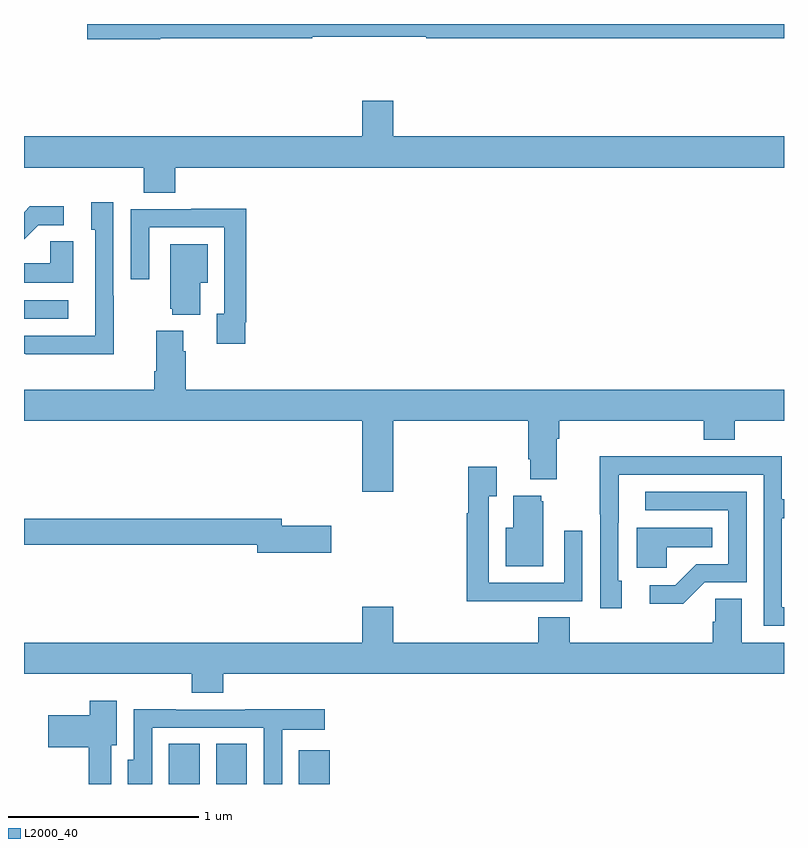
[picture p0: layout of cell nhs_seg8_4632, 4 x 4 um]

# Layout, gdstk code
import gdstk
lib = gdstk.Library(unit=1e-6, precision=1e-09)
def R(c, l, rs):  # rectangles x0, y0, x1, y1
    for r in rs: c.add(gdstk.rectangle(r[:2], r[2:], *l))
def P(c, l, *ps):  # polygons
    for p in ps: c.add(gdstk.Polygon(p, *l))
L2000_40 = (2000, 40)

nhs_seg8_4632 = lib.new_cell('nhs_seg8_4632')
R(nhs_seg8_4632, L2000_40, [(391.763,1135.9,391.924,1136.111), (392.012,1135.9,392.173,1136.111), (392.447,1135.9,392.608,1136.077), (391,1138.35,391.234,1138.446)])
P(nhs_seg8_4632, L2000_40, [(391.716,1139.824),(392.516,1139.824),(392.516,1139.832),(393.116,1139.832),(393.116,1139.824),(395,1139.824),(395,1139.9),(391.332,1139.9),(391.332,1139.819),(391.716,1139.819)],
  [(391.796,1139.144),(395,1139.144),(395,1139.308),(392.944,1139.308),(392.944,1139.497),(392.78,1139.497),(392.78,1139.308),(391,1139.308),(391,1139.144),(391.631,1139.144),(391.631,1139.011),(391.796,1139.011)],
  [(391.473,1138.469),(391.47,1138.469),(391.47,1138.963),(391.355,1138.963),(391.355,1138.818),(391.374,1138.818),(391.374,1138.26),(391,1138.26),(391,1138.164),(391.009,1138.164),(391.009,1138.163),(391.473,1138.163)],
  [(391.075,1138.842),(391.21,1138.842),(391.21,1138.94),(391.031,1138.94),(391,1138.909),(391,1138.767)],
  [(392.164,1138.33),(392.171,1138.33),(392.171,1138.928),(391.879,1138.928),(391.879,1138.926),(391.563,1138.926),(391.563,1138.557),(391.659,1138.557),(391.659,1138.83),(392.055,1138.83),(392.055,1138.374),(392.015,1138.374),(392.015,1138.218),(392.164,1138.218)],
  [(391.258,1138.757),(391.137,1138.757),(391.137,1138.642),(391,1138.642),(391,1138.538),(391.258,1138.538)],
  [(391.927,1138.538),(391.966,1138.538),(391.966,1138.741),(391.769,1138.741),(391.769,1138.401),(391.781,1138.401),(391.781,1138.37),(391.927,1138.37)],
  [(392.944,1137.812),(393.653,1137.812),(393.653,1137.61),(393.665,1137.61),(393.665,1137.503),(393.805,1137.503),(393.805,1137.716),(393.818,1137.716),(393.818,1137.812),(394.577,1137.812),(394.577,1137.713),(394.742,1137.713),(394.742,1137.812),(395,1137.812),(395,1137.976),(391.85,1137.976),(391.85,1138.178),(391.837,1138.178),(391.837,1138.285),(391.697,1138.285),(391.697,1138.072),(391.685,1138.072),(391.685,1137.976),(391,1137.976),(391,1137.812),(392.78,1137.812),(392.78,1137.438),(392.944,1137.438)],
  [(395,1136.829),(394.989,1136.829),(394.989,1137.298),(395,1137.298),(395,1137.399),(394.989,1137.399),(394.989,1137.624),(394.493,1137.624),(394.493,1137.626),(394.03,1137.626),(394.03,1137.319),(394.032,1137.319),(394.032,1136.826),(394.147,1136.826),(394.147,1136.97),(394.128,1136.97),(394.128,1137.274),(394.129,1137.274),(394.129,1137.528),(394.893,1137.528),(394.893,1136.733),(395,1136.733)],
  [(393.623,1136.862),(393.939,1136.862),(393.939,1137.232),(393.843,1137.232),(393.843,1136.958),(393.447,1136.958),(393.447,1137.415),(393.487,1137.415),(393.487,1137.571),(393.339,1137.571),(393.339,1137.326),(393.331,1137.326),(393.331,1136.861),(393.623,1136.861)],
  [(394.584,1136.961),(394.803,1136.961),(394.803,1137.438),(394.269,1137.438),(394.269,1137.342),(394.707,1137.342),(394.707,1137.057),(394.538,1137.057),(394.427,1136.946),(394.293,1136.946),(394.293,1136.849),(394.471,1136.849)],
  [(393.733,1137.387),(393.722,1137.387),(393.722,1137.418),(393.575,1137.418),(393.575,1137.25),(393.536,1137.25),(393.536,1137.047),(393.733,1137.047)],
  [(392.617,1137.26),(392.356,1137.26),(392.356,1137.296),(391,1137.296),(391,1137.16),(392.228,1137.16),(392.228,1137.118),(392.617,1137.118)],
  [(394.383,1137.146),(394.622,1137.146),(394.622,1137.25),(394.226,1137.25),(394.226,1137.038),(394.383,1137.038)],
  [(392.048,1136.48),(395,1136.48),(395,1136.644),(394.777,1136.644),(394.777,1136.876),(394.638,1136.876),(394.638,1136.753),(394.625,1136.753),(394.625,1136.644),(393.872,1136.644),(393.872,1136.777),(393.707,1136.777),(393.707,1136.644),(392.944,1136.644),(392.944,1136.833),(392.78,1136.833),(392.78,1136.644),(391,1136.644),(391,1136.48),(391.883,1136.48),(391.883,1136.381),(392.048,1136.381)],
  [(391.459,1136.105),(391.489,1136.105),(391.489,1136.338),(391.346,1136.338),(391.346,1136.263),(391.128,1136.263),(391.128,1136.093),(391.341,1136.093),(391.341,1135.9),(391.459,1135.9)],
  [(391.674,1136.196),(392.262,1136.196),(392.262,1135.9),(392.358,1135.9),(392.358,1136.186),(392.584,1136.186),(392.584,1136.294),(392.165,1136.294),(392.165,1136.292),(391.799,1136.292),(391.799,1136.294),(391.578,1136.294),(391.578,1136.028),(391.547,1136.028),(391.547,1135.9),(391.674,1135.9)])

lib.write_gds('nhs_seg8_4632.gds')
